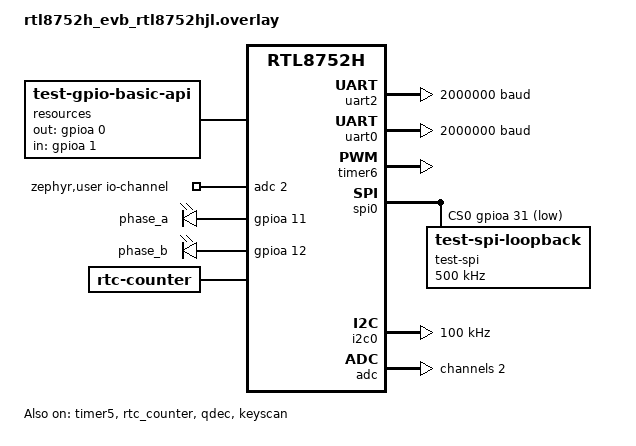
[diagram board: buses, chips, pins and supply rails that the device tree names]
/*
 * Copyright (c) 2026, Realtek Semiconductor Corporation
 *
 * SPDX-License-Identifier: Apache-2.0
 */

#include <zephyr/dt-bindings/gpio/realtek-bee-gpio.h>
#include <zephyr/dt-bindings/led/led.h>
#include <zephyr/dt-bindings/i2c/i2c.h>

/*
 *  P0_0 GPIO(TEST OUT)
 *  P0_1 GPIO(TEST IN)
 *  P0_2 PWM6
 *  P0_4 I2C0_CLK
 *  P0_5 I2C0_DAT
 *  P0_6 UART0_TX
 *  P1_0 SWD
 *  P1_1 SWD
 *  P2_2 ADC
 *  P2_3 UART0_RX
 *  P2_4 KSCAN_R0
 *  P2_5 KSCAN_R1
 *  P2_6 KSCAN_C0
 *  P2_7 KSCAN_C1
 *  P3_0 UART2_TX
 *  P3_1 UART2_RX
 *  P3_2 QDECX_A
 *  P3_3 QDECX_B
 *  P3_4
 *  P4_0 SPI0_CLK
 *  P4_1 SPI0_MO
 *  P4_2 SPI0_MI
 *  P4_3 GPIO(SPI0_CS)
 *  P5_1 GPIO(TEST QDECX)
 *  P5_2 GPIO(TEST QDECX)
 */

/ {
	resources {
		compatible = "test-gpio-basic-api";
		// P0_0
		out-gpios = <&gpioa 0 GPIO_ACTIVE_HIGH>;
		// P0_1
		in-gpios = <&gpioa 1 GPIO_ACTIVE_HIGH>;
	};

	zephyr,user {
		io-channels = <&adc 2>;
	};

	aliases {
		test-uart-dma = &uart0;
		test-counter-timer = &counter5;
		test-pwm = &pwm6;
		test-rtc = &rtc;
		test-qdec = &qdec;
		test-qenca = &phase_a;
		test-qencb = &phase_b;
		test-i2c = &i2c0;
	};

	encoder-emulate {
		compatible = "gpio-leds";

		phase_a: phase_a {
			// P5_1
			gpios = <&gpioa 11 GPIO_ACTIVE_HIGH>;
		};

		phase_b: phase_b {
			// P5_2
			gpios = <&gpioa 12 GPIO_ACTIVE_HIGH>;
		};
	};
};

&uart2 {
	pinctrl-0 = <&uart2_default>;
	pinctrl-1 = <&uart2_sleep>;
	pinctrl-names = "default", "sleep";
	status = "okay";
	current-speed = <2000000>;
	parity = "none";
	stop-bits = "1";
	data-bits = <8>;
};

&uart0 {
	pinctrl-0 = <&uart0_default>;
	pinctrl-1 = <&uart0_sleep>;
	pinctrl-names = "default", "sleep";
	status = "okay";
	current-speed = <2000000>;
	parity = "none";
	stop-bits = "1";
	data-bits = <8>;
	dmas = <&dma0 0 23 0xa>, <&dma0 1 15 0x10021>;
	dma-names = "rx", "tx";
};

&dma0 {
	status = "okay";
};

&gpioa {
	pinctrl-0 = <&gpioa_default>;
	pinctrl-names = "default";
	status = "okay";
};

&timer5 {
	status = "okay";
	prescaler = <1>;

	counter5: counter {
		compatible = "realtek,bee-counter-timer";
		status = "okay";
	};
};

&timer6 {
	status = "okay";
	prescaler = <1>;

	pwm6: pwm {
		status = "okay";
		pinctrl-0 = <&pwm6_default>;
		pinctrl-names = "default";
	};
};

&spi0 {
	status = "okay";
	pinctrl-0 = <&spi0_default>;
	pinctrl-names = "default";
	// P4_3
	cs-gpios = <&gpioa 31 GPIO_ACTIVE_LOW>;

	test-spi@0 {
		compatible = "test-spi-loopback";
		reg = <0>;
		spi-max-frequency = <500000>;
	};
};

&i2c0 {
	pinctrl-0 = <&i2c0_default>;
	pinctrl-1 = <&i2c0_sleep>;
	pinctrl-names = "default", "sleep";
	clock-frequency = <I2C_BITRATE_STANDARD>;
	status = "okay";
};

&rtc_counter {
	prescaler = <1>;
	status = "okay";

	rtc: rtc {
		compatible = "zephyr,rtc-counter";
		alarms-count = <4>;
		status = "okay";
	};
};

&qdec {
	x-enable;
	x-counts-per-revolution = <4>;
	x-debounce-time-ms = <5>;
	pinctrl-0 = <&qdec_default>;
	pinctrl-names = "default";
	status = "okay";
};

&keyscan {
	pinctrl-0 = <&keyscan_default>;
	pinctrl-1 = <&keyscan_sleep>;
	pinctrl-names = "default", "sleep";
	row-size = <2>;
	col-size = <2>;
	scan-div = <15>;
	delay-div = <63>;
	debounce-down-ms = <10>;
	debounce-up-ms = <10>;
	poll-period-us = <50000>;
	release-time-us = <5000>;
	status = "okay";
};

&adc {
	pinctrl-0 = <&adc_default>;
	pinctrl-names = "default";
	#address-cells = <1>;
	#size-cells = <0>;
	status = "okay";

	channel@2 {
		reg = <2>;
		zephyr,gain = "ADC_GAIN_1";
		zephyr,reference = "ADC_REF_INTERNAL";
		zephyr,acquisition-time = <ADC_ACQ_TIME_DEFAULT>;
		zephyr,resolution = <12>;
	};
};

&pinctrl {
	gpioa_default: gpioa_default {
		group1 {
			psels = <BEE_PSEL_GPIOA_0_P0_0>, //P0_0 GPIO(TEST OUT)
				<BEE_PSEL_GPIOA_1_P0_1>; //P0_1 GPIO(TEST IN)
		};

		group2 {
			psels = <BEE_PSEL_GPIOA_11_P5_1>, //P5_1 GPIO(TEST QDECX)
				<BEE_PSEL_GPIOA_12_P5_2>; //P5_2 GPIO(TEST QDECX)
		};

		group3 {
			psels = <BEE_PSEL_GPIOA_31_P4_3>; //P4_3 GPIO(SPI0_CS)
		};
	};

	uart0_default: uart0_default {
		group1 {
			psels = <BEE_PSEL(UART0_TX, P0_6)>;
			output-enable;
			output-high;
			bias-pull-up;
		};

		group2 {
			psels = <BEE_PSEL(UART0_RX, P2_3)>;
			output-disable;
			bias-pull-up;
		};
	};

	uart0_sleep: uart0_sleep {
		group1 {
			psels = <BEE_PSEL(SW_MODE, P0_6)>;
			sleep-hardware-state;
			output-enable;
			output-high;
			bias-pull-up;
		};

		group2 {
			psels = <BEE_PSEL(SW_MODE, P2_3)>;
			sleep-hardware-state;
			output-disable;
			bias-pull-up;
			wakeup-low;
		};
	};

	uart2_default: uart2_default {
		group1 {
			psels = <BEE_PSEL(UART2_TX, P3_0)>;
			output-enable;
			output-high;
			bias-pull-up;
		};

		group2 {
			psels = <BEE_PSEL(UART2_RX, P3_1)>;
			output-disable;
			bias-pull-up;
		};
	};

	uart2_sleep: uart2_sleep {
		group1 {
			psels = <BEE_PSEL(SW_MODE, P3_0)>;
			sleep-hardware-state;
			output-enable;
			output-high;
			bias-pull-up;
		};

		group2 {
			psels = <BEE_PSEL(SW_MODE, P3_1)>;
			sleep-hardware-state;
			output-disable;
			bias-pull-up;
			wakeup-low;
		};
	};

	spi0_default: spi0_default {
		group1 {
			psels = <BEE_PSEL(SPI0_CLK_MASTER, P4_0)>,
				<BEE_PSEL(SPI0_MO_MASTER, P4_1)>,
				<BEE_PSEL(SPI0_MI_MASTER, P4_2)>;
			output-enable;
			output-high;
			bias-pull-up;
		};
	};

	pwm6_default: pwm6_default {
		group1 {
			psels = <BEE_PSEL(ENPWM0, P0_2)>;
			output-enable;
			output-low;
			bias-pull-down;
		};
	};

	qdec_default: qdec_default {
		group1 {
			psels = <BEE_PSEL(QDEC_PHASE_A_X, P3_2)>,
				<BEE_PSEL(QDEC_PHASE_B_X, P3_3)>;
			output-disable;
			bias-pull-up;
		};
	};

	i2c0_default: i2c0_default {
		group1 {
			psels = <BEE_PSEL(I2C0_CLK, P0_4)>,
				<BEE_PSEL(I2C0_DAT, P0_5)>;
			output-enable;
			output-high;
			bias-pull-up;
		};
	};

	i2c0_sleep: i2c0_sleep {
		group1 {
			psels = <BEE_PSEL(SW_MODE, P0_4)>,
				<BEE_PSEL(SW_MODE, P0_5)>;
			sleep-hardware-state;
			output-enable;
			output-high;
			bias-pull-up;
		};
	};

	keyscan_default: keyscan_default {
		group1 {
			psels = <BEE_PSEL(KEY_COL_0, P2_6)>,
				<BEE_PSEL(KEY_COL_1, P2_7)>;
			output-enable;
			output-low;
			bias-disable;
		};

		group2 {
			psels = <BEE_PSEL(KEY_ROW_0, P2_4)>,
				<BEE_PSEL(KEY_ROW_1, P2_5)>;
			output-disable;
			bias-pull-up;
			bias-pull-strong;
		};
	};

	keyscan_sleep: keyscan_sleep {
		group1 {
			psels = <BEE_PSEL(SW_MODE, P2_6)>,
				<BEE_PSEL(SW_MODE, P2_7)>;
			sleep-hardware-state;
			output-enable;
			output-low;
			bias-disable;
		};

		group2 {
			psels = <BEE_PSEL(SW_MODE, P2_4)>,
				<BEE_PSEL(SW_MODE, P2_5)>;
			sleep-hardware-state;
			output-disable;
			bias-pull-up;
			bias-pull-strong;
			wakeup-low;
		};
	};

	adc_default: adc_default {
		group1 {
			psels = <BEE_PSEL(SW_MODE, P2_2)>;
			output-disable;
			bias-pull-down;
		};
	};
};
